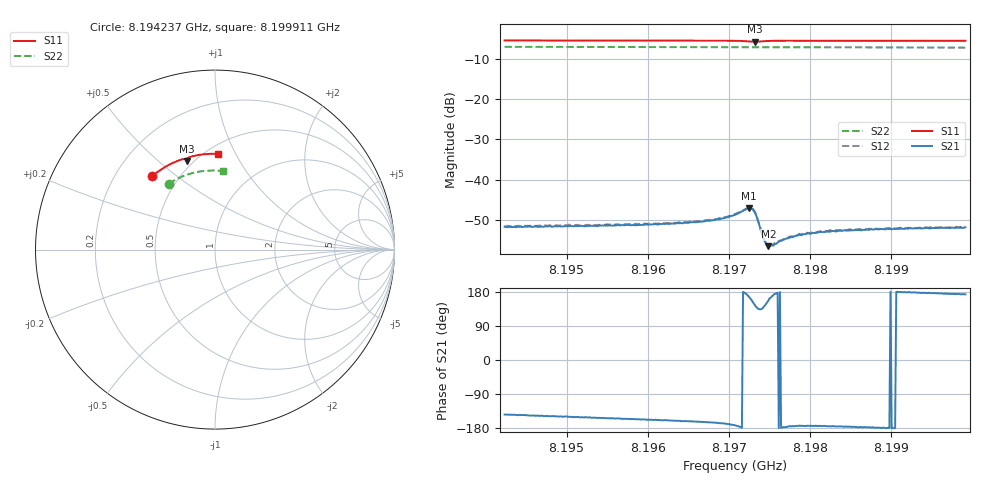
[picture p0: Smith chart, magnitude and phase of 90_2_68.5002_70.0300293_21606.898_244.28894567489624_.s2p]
#  HZ  S  RI  R  50.00
! Rohde & Schwarz Vector Network Analyzer
! Rohde-Schwarz,ZNB20-2Port,1311601062101988,3.16
! Created: UTC 3/20/2024, 4:52:37 PM
! freq[Hz]  re:S11  im:S11  re:S21  im:S21  re:S12  im:S12  re:S22  im:S22
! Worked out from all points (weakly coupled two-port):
!   401 points, 8.194237 GHz to 8.199911 GHz, reference 50 ohm
!   highest |S21| = -47.13 dB at 8.197244 GHz (marker M1); lowest = -56.6 dB at 8.197485 GHz (marker M2)
!   lowest |S11| = -5.7 dB at 8.197315 GHz (marker M3), VSWR 3.15, Z = 23.1 + j31.2 ohm
!   |S11| at or under -10 dB: nowhere
!   |S22| runs from -7.2 to -7.0 dB; largest |S21 - S12| = 0.00023
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8.1942374e9  -0.3508 0.4087  -0.0021 -0.00153  -0.00217 -0.00149  -0.2576 0.3672
8.1951877e9  -0.2966 0.4486  -0.00233 -0.00129  -0.0024 -0.00122  -0.2117 0.3937
8.196138e9  -0.2378 0.4816  -0.00259 -0.00103  -0.00268 -0.000936  -0.1632 0.4148
8.1965635e9  -0.2094 0.4938  -0.00281 -0.0009  -0.0029 -0.000817  -0.1403 0.4223
8.1967904e9  -0.1935 0.4997  -0.00302 -0.000809  -0.00313 -0.000678  -0.1281 0.4258
8.196989e9  -0.1784 0.5039  -0.00333 -0.000636  -0.00345 -0.000539  -0.1173 0.4285
8.1970741e9  -0.1712 0.5051  -0.0036 -0.000487  -0.00373 -0.000323  -0.1125 0.4295
8.1972443e9  -0.1554 0.5006  -0.00429 0.000975  -0.00431 0.00113  -0.1031 0.4314
8.1972869e9  -0.1548 0.4961  -0.00392 0.00181  -0.00394 0.00202  -0.1009 0.4318
8.1973152e9  -0.1566 0.494  -0.00327 0.00221  -0.00322 0.00243  -0.0995 0.432
8.1973436e9  -0.1593 0.4942  -0.00252 0.00225  -0.00249 0.00243  -0.0981 0.4323
8.1974003e9  -0.1619 0.4995  -0.00153 0.00156  -0.00148 0.00162  -0.095 0.433
8.1974287e9  -0.1609 0.5026  -0.00139 0.00114  -0.00134 0.00125  -0.0935 0.4335
8.1974571e9  -0.1592 0.5053  -0.00135 0.000834  -0.00136 0.000896  -0.0919 0.4337
8.1974854e9  -0.1572 0.5073  -0.00137 0.000578  -0.00141 0.000633  -0.0904 0.4341
8.197528e9  -0.1539 0.51  -0.00149 0.000314  -0.0015 0.000365  -0.0878 0.4345
8.1976698e9  -0.1425 0.5153  -0.00179 -8.87e-05  -0.00181 -2.37e-05  -0.08 0.436
8.19784e9  -0.1296 0.5191  -0.00202 -0.0002  -0.00203 -0.000143  -0.0706 0.4372
8.1980244e9  -0.1162 0.5224  -0.00216 -0.000221  -0.00216 -0.000162  -0.06 0.4385
8.1982655e9  -0.0988 0.5259  -0.00228 -0.000198  -0.00231 -0.000109  -0.0466 0.4396
8.1989747e9  -0.0484 0.5323  -0.00241 -1.61e-05  -0.00249 9.24e-05  -0.00669 0.4408
8.1999108e9  0.0181 0.533  -0.00252 0.000301  -0.00252 0.000407  0.0463 0.4365
